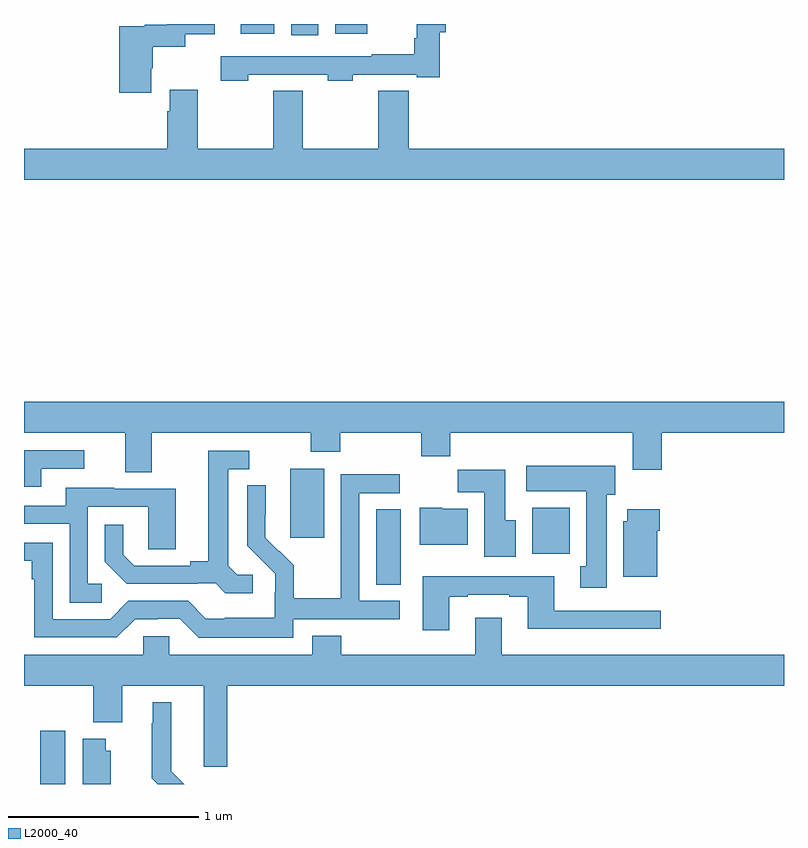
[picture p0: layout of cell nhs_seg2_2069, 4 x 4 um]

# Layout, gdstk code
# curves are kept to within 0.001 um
import gdstk
lib = gdstk.Library(unit=1e-6, precision=1e-09)
def R(c, l, rs):  # rectangles x0, y0, x1, y1
    for r in rs: c.add(gdstk.rectangle(r[:2], r[2:], *l))
def P(c, l, *ps):  # polygons
    for p in ps: c.add(gdstk.Polygon(p, *l))
L2000_40 = (2000, 40)

nhs_seg2_2069 = lib.new_cell('nhs_seg2_2069')
R(nhs_seg2_2069, L2000_40, [(219.086,633.8,219.217,634.081), (220.853,634.849,220.984,635.246), (221.675,635.012,221.872,635.254), (220.4,635.097,220.579,635.458), (220.406,637.74,220.549,637.8), (220.142,637.748,220.318,637.8), (220.637,637.748,220.807,637.8)])
P(nhs_seg2_2069, L2000_40, [(220.179,637.533),(220.599,637.533),(220.599,637.501),(220.731,637.501),(220.731,637.533),(221.066,637.533),(221.066,637.521),(221.189,637.521),(221.189,637.757),(221.219,637.757),(221.219,637.8),(221.068,637.8),(221.068,637.726),(221.053,637.726),(221.053,637.642),(220.831,637.642),(220.831,637.629),(220.035,637.629),(220.035,637.501),(220.179,637.501)],
  [(219.67,637.566),(219.678,637.566),(219.678,637.679),(219.849,637.679),(219.849,637.745),(220.003,637.745),(220.003,637.8),(219.753,637.8),(219.753,637.797),(219.636,637.797),(219.636,637.789),(219.5,637.789),(219.5,637.437),(219.67,637.437)],
  [(223,637.144),(221.024,637.144),(221.024,637.448),(220.864,637.448),(220.864,637.144),(220.466,637.144),(220.466,637.448),(220.312,637.448),(220.312,637.144),(219.915,637.144),(219.915,637.453),(219.767,637.453),(219.767,637.34),(219.755,637.34),(219.755,637.144),(219,637.144),(219,636.98),(223,636.98)],
  [(219.673,635.648),(220.51,635.648),(220.51,635.549),(220.665,635.549),(220.665,635.648),(221.092,635.648),(221.092,635.524),(221.243,635.524),(221.243,635.648),(222.203,635.648),(222.203,635.454),(222.356,635.454),(222.356,635.648),(223,635.648),(223,635.812),(219,635.812),(219,635.648),(219.533,635.648),(219.533,635.44),(219.673,635.44)],
  [(219.091,635.46),(219.316,635.46),(219.316,635.556),(219,635.556),(219,635.364),(219.091,635.364)],
  [(220.204,634.902),(220.122,634.902),(220.075,634.949),(220.075,635.457),(220.186,635.457),(220.186,635.553),(219.971,635.553),(219.971,634.973),(219.875,634.973),(219.875,634.95),(219.58,634.95),(219.523,635.007),(219.523,635.164),(219.426,635.164),(219.426,634.97),(219.542,634.854),(219.914,634.854),(219.914,634.857),(220.008,634.857),(220.06,634.805),(220.204,634.805)],
  [(222.067,635.322),(222.112,635.322),(222.112,635.476),(221.643,635.476),(221.643,635.342),(221.96,635.342),(221.96,634.946),(221.927,634.946),(221.927,634.833),(222.067,634.833)],
  [(221.587,635.188),(221.533,635.188),(221.533,635.455),(221.284,635.455),(221.284,635.336),(221.423,635.336),(221.423,634.995),(221.587,634.995)],
  [(220.416,634.668),(220.978,634.668),(220.978,634.764),(220.764,634.764),(220.764,635.331),(220.978,635.331),(220.978,635.43),(220.668,635.43),(220.668,635),(220.666,635),(220.666,634.777),(220.421,634.777),(220.421,634.951),(220.344,635.028),(220.341,635.025),(220.271,635.096),(220.272,635.372),(220.176,635.372),(220.176,635.054),(220.322,634.906),(220.322,634.809),(220.32,634.809),(220.32,634.675),(220.057,634.675),(220.057,634.671),(219.957,634.671),(219.864,634.764),(219.549,634.764),(219.453,634.668),(219.15,634.668),(219.15,635.07),(219,635.07),(219,634.974),(219.041,634.974),(219.041,634.877),(219.054,634.877),(219.054,634.572),(219.489,634.572),(219.585,634.668),(219.704,634.668),(219.704,634.671),(219.819,634.671),(219.919,634.571),(220.416,634.571)],
  [(219.409,634.854),(219.336,634.854),(219.336,635.259),(219.654,635.259),(219.654,635.035),(219.799,635.035),(219.799,635.355),(219.475,635.355),(219.475,635.359),(219.221,635.359),(219.221,635.265),(219,635.265),(219,635.169),(219.24,635.169),(219.24,634.753),(219.409,634.753)],
  [(221.335,635.248),(221.202,635.248),(221.202,635.254),(221.084,635.254),(221.084,635.06),(221.335,635.06)],
  [(222.334,635.132),(222.347,635.132),(222.347,635.245),(222.176,635.245),(222.176,635.184),(222.155,635.184),(222.155,634.892),(222.334,634.892)],
  [(221.239,634.785),(221.335,634.785),(221.335,634.797),(221.555,634.797),(221.555,634.785),(221.651,634.785),(221.651,634.616),(222.352,634.616),(222.352,634.713),(221.791,634.713),(221.791,634.893),(221.327,634.893),(221.327,634.894),(221.099,634.894),(221.099,634.608),(221.239,634.608)],
  [(220.07,634.316),(223,634.316),(223,634.48),(221.515,634.48),(221.515,634.675),(221.375,634.675),(221.375,634.48),(220.67,634.48),(220.67,634.579),(220.517,634.579),(220.517,634.48),(219.765,634.48),(219.765,634.578),(219.627,634.578),(219.627,634.48),(219,634.48),(219,634.316),(219.365,634.316),(219.365,634.124),(219.517,634.124),(219.517,634.316),(219.947,634.316),(219.947,633.891),(220.07,633.891)],
  [(219.775,633.868),(219.775,634.231),(219.677,634.231),(219.677,634.121),(219.673,634.121),(219.673,633.83),(219.703,633.8),(219.843,633.8)],
  [(219.457,633.975),(219.43,633.975),(219.43,634.039),(219.308,634.039),(219.308,633.8),(219.457,633.8)])

lib.write_gds('nhs_seg2_2069.gds')
